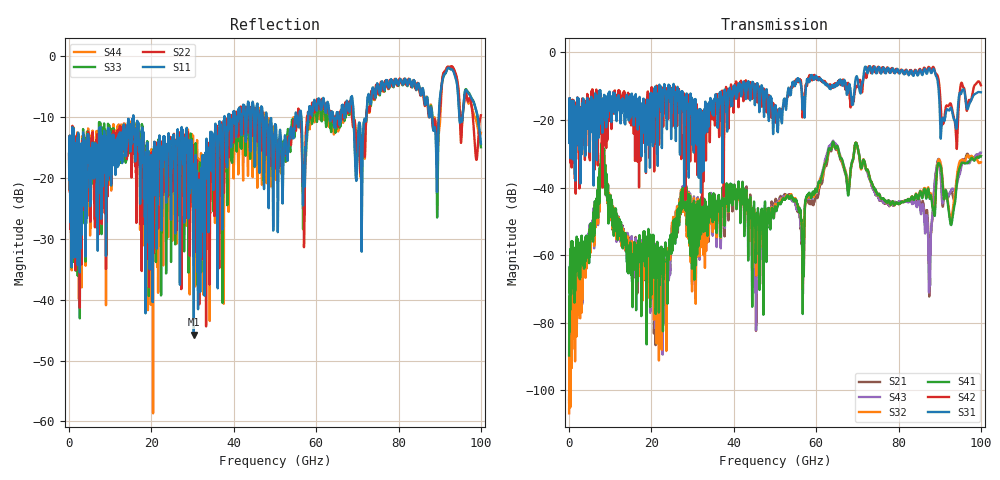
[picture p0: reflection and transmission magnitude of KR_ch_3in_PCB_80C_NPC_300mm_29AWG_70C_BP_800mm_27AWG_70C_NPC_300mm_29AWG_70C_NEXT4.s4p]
# GHz S RI R 45
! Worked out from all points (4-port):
!   4000 points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, 25 MHz to 100 GHz, reference 45 ohm
!   strongest paths, dB at 25 MHz, 25.02 GHz, 50.02 GHz, 75.03 GHz, 100 GHz:
!     S31: -20.0, -14.3, -16.2, -5.1, -11.8
!     S42: -20.0, -17.9, -18.0, -4.4, -9.7
!     S41: -89.7, -54.4, -45.6, -41.9, -30.7
!     S32: -106.8, -50.4, -44.9, -42.0, -32.5
!     S43: -102.7, -51.4, -44.8, -42.6, -29.6
!     S21: -103.5, -52.4, -44.7, -42.7, -30.6
!   lowest |S11| = -45.7 dB at 30.3 GHz (marker M1), VSWR 1.01, Z = 44.8 + j0.4 ohm
!   |S11| at or under -10 dB: start of sweep to 15.61 GHz; 15.64 GHz to 37.74 GHz (22.11 GHz wide, 82.8 % of centre); 48.04 GHz to 54.87 GHz (6.831 GHz wide, 13.3 % of centre) (the widest 3 of 30)
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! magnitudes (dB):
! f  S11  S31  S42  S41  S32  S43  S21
! 25 MHz  -16.0  -20.0  -20.0  -89.7  -106.8  -102.7  -103.5
! 8.05 GHz  -17.1  -20.5  -23.6  -27.5  -28.2  -27.8  -27.9
! 23 GHz  -14.4  -12.1  -15.1  -66.2  -64.0  -68.8  -70.6
! 30.3 GHz  -45.7  -29.7  -20.1  -44.7  -43.6  -43.2  -43.5
! 64.28 GHz  -10.2  -10.3  -9.8  -26.9  -27.6  -26.4  -27.6
! 87.55 GHz  -9.9  -4.8  -4.7  -43.2  -42.9  -63.4  -60.9
! 100 GHz  -14.3  -11.8  -9.7  -30.7  -32.5  -29.6  -30.6
